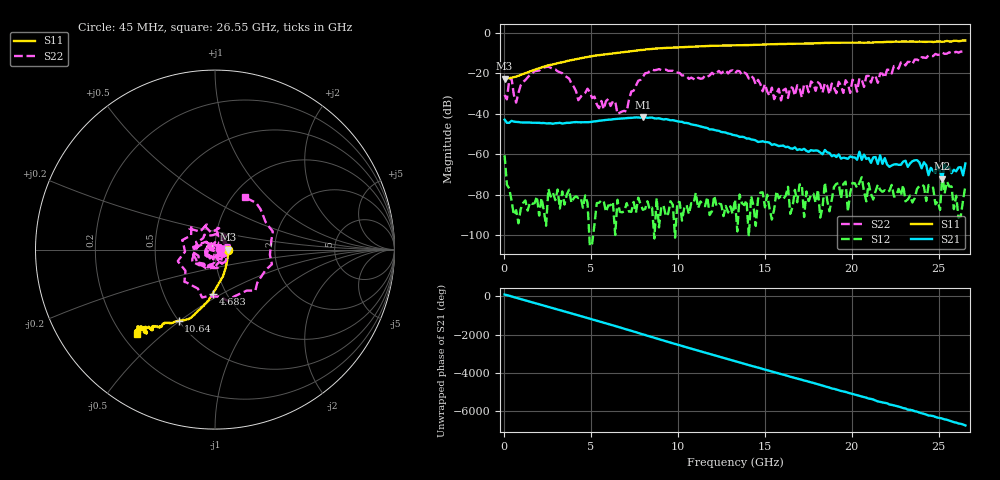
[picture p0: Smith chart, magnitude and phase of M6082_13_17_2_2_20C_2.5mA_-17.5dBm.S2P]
!  2-Port S-parameters saved by WinCal
! VAR MeasName=S-Parameters (CALIBRATED_DATA) read from VNA (C)
! VAR MeasDate=10/16/2015 1:42:19 PM
! VAR NAME=M6082_13_17_2_2_20C_2.5mA_-17.5dBm
! VAR FILENAME=M6082_13_17_2_2_20C_2.5mA_-17.5dBm.S2P
! VAR DATE=10/16/2015 1:42:19 PM
! VAR PHYS_PORTS=2,1
! VAR ObjTypeName=DATASET
! VAR IndexType=Frequency
# Hz S RI R 50
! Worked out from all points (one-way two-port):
!   201 points, 45 MHz to 26.55 GHz, reference 50 ohm
!   highest |S21| = -41.75 dB at 7.995 GHz (marker M1); lowest = -72.0 dB at 25.22 GHz (marker M2)
!   lowest |S11| = -22.7 dB at 45 MHz (marker M3), VSWR 1.16, Z = 57.9 - j0.0982 ohm
!   |S11| at or under -10 dB: start of sweep to 6.579 GHz
!   |S22| runs from -40.1 to -9.2 dB; largest |S21 - S12| = 0.0082
!   S11 on the Smith chart (normalised r, x): 45 MHz: 1.16, -0.00; 4.683 GHz: 0.86, -0.45; 10.64 GHz: 0.50, -0.50; 26.55 GHz: 0.26, -0.41
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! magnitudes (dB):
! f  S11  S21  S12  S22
! 45 MHz  -22.7  -42.9  -60.5  -30.8
! 177.5 MHz  -22.6  -44.5  -75.1  -32.9
! 442.5 MHz  -22.2  -43.5  -82.8  -22.4
! 707.5 MHz  -21.7  -44.0  -87.6  -34.5
! 2.43 GHz  -16.5  -44.8  -95.3  -16.9
! 4.55 GHz  -12.4  -44.2  -86.3  -30.3
! 4.683 GHz  -12.2  -44.2  -80.3  -29.7
! 7.067 GHz  -9.5  -42.2  -84.1  -39.0
! 7.995 GHz  -8.5  -41.8  -87.4  -21.8
! 8.922 GHz  -7.8  -42.2  -96.0  -18.0
! 10.64 GHz  -7.0  -44.8  -89.5  -22.8
! 13.29 GHz  -6.3  -50.6  -82.3  -20.0
! 15.95 GHz  -5.6  -55.8  -80.6  -33.4
! 17.8 GHz  -5.3  -58.3  -79.4  -25.2
! 19.92 GHz  -4.9  -61.1  -79.0  -29.7
! 20.58 GHz  -4.9  -62.7  -71.3  -23.2
! 20.85 GHz  -4.9  -62.3  -83.2  -21.4
! 22.17 GHz  -4.6  -66.2  -78.0  -18.3
! 25.09 GHz  -4.4  -68.4  -87.5  -10.8
! 25.22 GHz  -4.5  -72.0  -69.5  -9.9
! 25.35 GHz  -4.3  -64.8  -79.4  -10.5
! 26.55 GHz  -3.9  -64.6  -75.4  -9.5
